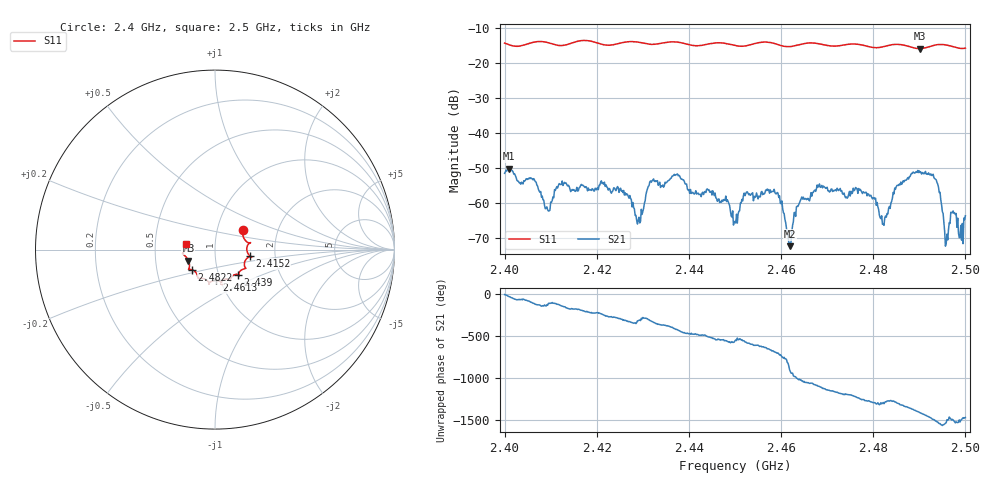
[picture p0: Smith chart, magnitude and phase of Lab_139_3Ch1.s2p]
# Hz S RI R 50
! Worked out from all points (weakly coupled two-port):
!   601 points, 2.4 GHz to 2.5 GHz, reference 50 ohm
!   highest |S21| = -50.24 dB at 2.401 GHz (marker M1); lowest = -72.3 dB at 2.462 GHz (marker M2)
!   lowest |S11| = -15.9 dB at 2.4902 GHz (marker M3), VSWR 1.38, Z = 36.9 - j4.62 ohm
!   |S11| at or under -10 dB: start of sweep to end of sweep
!   S12 and S22 are empty: the file has one direction only
!   S11 on the Smith chart (normalised r, x): 2.4 GHz: 1.33, +0.31; 2.4152 GHz: 1.48, -0.11; 2.439 GHz: 1.24, -0.36; 2.4613 GHz: 0.96, -0.34; 2.4822 GHz: 0.76, -0.17; 2.5 GHz: 0.72, +0.05
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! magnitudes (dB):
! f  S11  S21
! 2.4 GHz  -14.4  -51.5
! 2.401 GHz  -14.8  -50.2
! 2.4093 GHz  -14.2  -61.9
! 2.4152 GHz  -14.1  -56.4
! 2.4167 GHz  -13.6  -54.7
! 2.425 GHz  -14.4  -56.1
! 2.429 GHz  -14.1  -64.9
! 2.4333 GHz  -14.5  -54.9
! 2.439 GHz  -14.5  -53.8
! 2.45 GHz  -15.0  -65.3
! 2.4523 GHz  -15.1  -57.3
! 2.4582 GHz  -14.3  -56.7
! 2.4613 GHz  -15.4  -68.8
! 2.462 GHz  -15.3  -72.3
! 2.4667 GHz  -14.3  -58.0
! 2.4767 GHz  -14.7  -57.2
! 2.4822 GHz  -15.4  -66.1
! 2.4833 GHz  -15.0  -61.5
! 2.4902 GHz  -15.9  -51.3
! 2.4935 GHz  -14.9  -53.2
! 2.4958 GHz  -14.9  -71.6
! 2.5 GHz  -15.8  -63.6
